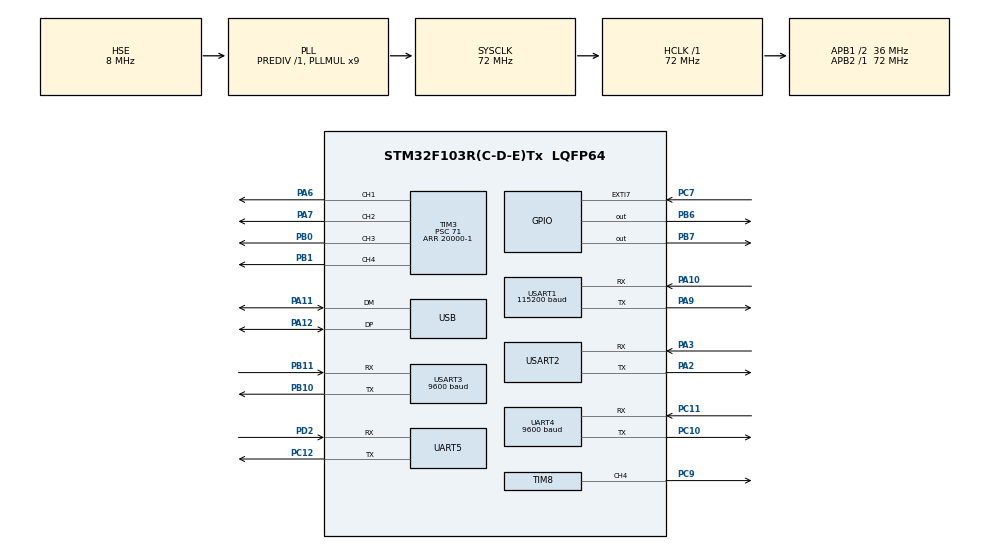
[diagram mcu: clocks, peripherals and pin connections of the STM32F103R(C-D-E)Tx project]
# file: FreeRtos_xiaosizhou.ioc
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Dma.Request0=TIM8_CH4/TRIG/COM
Dma.TIM8_CH4/TRIG/COM.0.Direction=DMA_MEMORY_TO_PERIPH
Dma.TIM8_CH4/TRIG/COM.0.Instance=DMA2_Channel2
Dma.TIM8_CH4/TRIG/COM.0.MemDataAlignment=DMA_MDATAALIGN_HALFWORD
Dma.TIM8_CH4/TRIG/COM.0.MemInc=DMA_MINC_ENABLE
Dma.TIM8_CH4/TRIG/COM.0.Mode=DMA_CIRCULAR
Dma.TIM8_CH4/TRIG/COM.0.PeriphDataAlignment=DMA_PDATAALIGN_HALFWORD
Dma.TIM8_CH4/TRIG/COM.0.PeriphInc=DMA_PINC_DISABLE
Dma.TIM8_CH4/TRIG/COM.0.Priority=DMA_PRIORITY_LOW
FREERTOS.Events01=ClassisEvent,Dynamic,NULL;SensorEvent,Dynamic,NULL;TriflesEvent,Dynamic,NULL
FREERTOS.INCLUDE_xEventGroupSetBitFromISR=1
FREERTOS.INCLUDE_xQueueGetMutexHolder=1
FREERTOS.INCLUDE_xSemaphoreGetMutexHolder=1
FREERTOS.Mutexes01=ChassisMutex,Dynamic,NULL;SensorMutex,Dynamic,NULL;TriflesMutex,Dynamic,NULL
FREERTOS.Tasks01=ClassisTask,24,128,StartDefaultTask,Default,NULL,Dynamic,NULL,NULL;SensorTask,16,128,Sensor_Tsak,Default,NULL,Dynamic,NULL,NULL;TriflesTask,8,128,Trifles_Task,Default,NULL,Dynamic,NULL,NULL
FREERTOS.Timers01=ThreadsTimer,ThreadsCallback,osTimerPeriodic,Default,NULL,Dynamic,NULL;User_TasksTimer,User_TasksCallback,osTimerPeriodic,Default,NULL,Dynamic,NULL;LedTimer,LedCallback,osTimerPeriodic,Default,NULL,Dynamic,NULL
FREERTOS.configUSE_APPLICATION_TASK_TAG=0
FREERTOS.configUSE_NEWLIB_REENTRANT=0
Mcu.Family=STM32F1
Mcu.Name=STM32F103R(C-D-E)Tx
Mcu.Package=LQFP64
NVIC.DMA2_Channel2_IRQn=true\:5\:0\:false\:false\:true\:true\:false\:true\:true
NVIC.EXTI9_5_IRQn=true\:6\:0\:true\:false\:true\:true\:true\:true\:true
NVIC.PriorityGroup=NVIC_PRIORITYGROUP_4
NVIC.TIM5_IRQn=true\:7\:0\:true\:false\:true\:true\:true\:true\:true
NVIC.TIM6_IRQn=true\:15\:0\:false\:false\:true\:false\:false\:true\:true
NVIC.TimeBase=TIM6_IRQn
NVIC.TimeBaseIP=TIM6
NVIC.UART4_IRQn=true\:6\:0\:true\:false\:true\:true\:true\:true\:true
NVIC.UART5_IRQn=true\:6\:0\:true\:false\:true\:true\:true\:true\:true
NVIC.USART1_IRQn=true\:5\:0\:true\:false\:true\:true\:true\:true\:true
NVIC.USART2_IRQn=true\:6\:0\:true\:false\:true\:true\:true\:true\:true
NVIC.USART3_IRQn=true\:6\:0\:true\:false\:true\:true\:true\:true\:true
NVIC.USB_LP_CAN1_RX0_IRQn=true\:5\:0\:false\:false\:true\:true\:false\:true\:true
PA10.Mode=Asynchronous
PA10.Signal=USART1_RX
PA11.Mode=Device
PA11.Signal=USB_DM
PA12.Mode=Device
PA12.Signal=USB_DP
PA13.Mode=Serial_Wire
PA13.Signal=SYS_JTMS-SWDIO
PA14.Mode=Serial_Wire
PA14.Signal=SYS_JTCK-SWCLK
PA2.Mode=Asynchronous
PA2.Signal=USART2_TX
PA3.Mode=Asynchronous
PA3.Signal=USART2_RX
PA6.Signal=S_TIM3_CH1
PA7.Signal=S_TIM3_CH2
PA9.Mode=Asynchronous
PA9.Signal=USART1_TX
PB0.Signal=S_TIM3_CH3
PB1.Signal=S_TIM3_CH4
PB10.Mode=Asynchronous
PB10.Signal=USART3_TX
PB11.Mode=Asynchronous
PB11.Signal=USART3_RX
PB6.Signal=GPIO_Output
PB7.Signal=GPIO_Output
PC10.Mode=Asynchronous
PC10.Signal=UART4_TX
PC11.Mode=Asynchronous
PC11.Signal=UART4_RX
PC12.Mode=Asynchronous
PC12.Signal=UART5_TX
PC7.GPIO_ModeDefaultEXTI=GPIO_MODE_IT_FALLING
PC7.Signal=GPXTI7
PC9.Signal=S_TIM8_CH4
PD0-OSC_IN.Mode=HSE-External-Oscillator
PD0-OSC_IN.Signal=RCC_OSC_IN
PD1-OSC_OUT.Mode=HSE-External-Oscillator
PD1-OSC_OUT.Signal=RCC_OSC_OUT
PD2.Mode=Asynchronous
PD2.Signal=UART5_RX
ProjectManager.HeapSize=0x1000
ProjectManager.StackSize=0x400
ProjectManager.TargetToolchain=MDK-ARM V5.32
RCC.AHBFreq_Value=72000000
RCC.APB1CLKDivider=RCC_HCLK_DIV2
RCC.APB1Freq_Value=36000000
RCC.APB1TimFreq_Value=72000000
RCC.APB2Freq_Value=72000000
RCC.APB2TimFreq_Value=72000000
RCC.HCLKFreq_Value=72000000
RCC.PLLMUL=RCC_PLL_MUL9
RCC.PLLSourceVirtual=RCC_PLLSOURCE_HSE
RCC.SYSCLKFreq_VALUE=72000000
RCC.SYSCLKSource=RCC_SYSCLKSOURCE_PLLCLK
RCC.USBFreq_Value=48000000
RCC.USBPrescaler=RCC_USBCLKSOURCE_PLL_DIV1_5
SH.S_TIM3_CH1.0=TIM3_CH1,PWM Generation1 CH1
SH.S_TIM3_CH2.0=TIM3_CH2,PWM Generation2 CH2
SH.S_TIM3_CH3.0=TIM3_CH3,PWM Generation3 CH3
SH.S_TIM3_CH4.0=TIM3_CH4,PWM Generation4 CH4
SH.S_TIM8_CH4.0=TIM8_CH4,PWM Generation4 CH4
TIM3.Channel-PWM\ Generation1\ CH1=TIM_CHANNEL_1
TIM3.Channel-PWM\ Generation2\ CH2=TIM_CHANNEL_2
TIM3.Channel-PWM\ Generation3\ CH3=TIM_CHANNEL_3
TIM3.Channel-PWM\ Generation4\ CH4=TIM_CHANNEL_4
TIM3.Period=20000-1
TIM3.Prescaler=71
TIM4.Prescaler=71
TIM5.Period=1000-1
TIM5.Prescaler=71
TIM7.Prescaler=71
TIM8.Channel-PWM\ Generation4\ CH4=TIM_CHANNEL_4
TIM8.Period=89
UART4.BaudRate=9600
UART4.VirtualMode=Asynchronous
UART5.VirtualMode=Asynchronous
USART1.BaudRate=115200
USART1.Parity=PARITY_NONE
USART1.StopBits=STOPBITS_1
USART1.VirtualMode=VM_ASYNC
USART1.WordLength=WORDLENGTH_8B
USART2.VirtualMode=VM_ASYNC
USART3.BaudRate=9600
USART3.VirtualMode=VM_ASYNC
USB_DEVICE.CLASS_NAME_FS=CDC
USB_DEVICE.VirtualMode=Cdc
USB_DEVICE.VirtualModeFS=Cdc_FS
VP_FREERTOS_VS_CMSIS_V2.Mode=CMSIS_V2
VP_SYS_VS_tim6.Mode=TIM6
VP_TIM3_VS_ClockSourceINT.Mode=Internal
VP_TIM4_VS_ClockSourceINT.Mode=Internal
VP_TIM5_VS_ClockSourceINT.Mode=Internal
VP_TIM7_VS_ClockSourceINT.Mode=Enable_Timer
VP_TIM8_VS_ClockSourceINT.Mode=Internal
VP_USB_DEVICE_VS_USB_DEVICE_CDC_FS.Mode=CDC_FS
board=custom

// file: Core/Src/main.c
/* USER CODE BEGIN Header */
/**
  ******************************************************************************
  * @file           : main.c
  * @brief          : Main program body
  ******************************************************************************
  * @attention
  *
  * Copyright (c) 2023 STMicroelectronics.
  * All rights reserved.
  *
  * This software is licensed under terms that can be found in the LICENSE file
  * in the root directory of this software component.
  * If no LICENSE file comes with this software, it is provided AS-IS.
  *
  ******************************************************************************
  */
/* USER CODE END Header */
#include "main.h"
#include "cmsis_os.h"
#include "dma.h"
#include "tim.h"
#include "usart.h"
#include "usb_device.h"
#include "gpio.h"

/* USER CODE BEGIN Includes */
#include "Drv_ws2812.h"
#include "iic.h"
#include "Drv_wit_c_sdk.h"
#include "systerm.h"
#include "stdio.h"
#include "Drv_ppm.h"
#include "structconfig.h"
#include "719_Interface.h"
#include "719_FC.h"
#include "Drv_Imu.h"

/* USER CODE END Includes */

/* USER CODE BEGIN PTD */
//#define ACC_UPDATE		0x01
//#define GYRO_UPDATE		0x02
//#define ANGLE_UPDATE	0x04
//#define MAG_UPDATE		0x08
//#define READ_UPDATE		0x80

//static volatile char s_cDataUpdate = 0, s_cCmd = 0xff;

//static void AutoScanSensor(void);
//static void CopeSensorData(uint32_t uiReg, uint32_t uiRegNum);
//static void Delayms(uint16_t ucMs);
/* USER CODE END PTD */

void SystemClock_Config(void);
void MX_FREERTOS_Init(void);

int main(void)
{

  /* MCU Configuration--------------------------------------------------------*/

  /* Reset of all peripherals, Initializes the Flash interface and the Systick. */
  HAL_Init();

  /* Configure the system clock */
  SystemClock_Config();

  /* Initialize all configured peripherals */
  MX_GPIO_Init();
  MX_DMA_Init();
  MX_USART1_UART_Init();
  MX_TIM8_Init();
  MX_UART4_Init();
  MX_UART5_Init();
  MX_USART2_UART_Init();
  MX_USART3_UART_Init();
  MX_TIM3_Init();
  MX_TIM7_Init();
  MX_TIM5_Init();
  MX_TIM4_Init();
	MotorPwm_Init();//电调校准
  /* USER CODE BEGIN 2 */
  /***********************************************************
  TIM1-------------           TIM2-------------
  TIM6-------------sys        TIM7-------------Cnt_TIM
  TIM3-------------motor_pwm  TIM4-------------Cnt_TIM
  TIM5-------------Base_TIM   TIM8-------------PWM_DMA_WS2812（全彩灯）
  ***********************************************************/
   systerm_init();
	 Get_ImuData_Init();

  /* USER CODE END 2 */

  /* Init scheduler */
  osKernelInitialize();  /* Call init function for freertos objects (in freertos.c) */
  MX_FREERTOS_Init();

  /* Start scheduler */
  osKernelStart();

  /* We should never get here as control is now taken by the scheduler */
  /* Infinite loop */
  while (1)
  {

    /* USER CODE BEGIN 3 */
//		printf("hello world\r\n");
//    Task_Schedule();
//		printf("angle:%.3f %.3f %.3f\n", fAngle[0], fAngle[1], fAngle[2]);
//			printf("%f\n",fAngle[2]);
//	  if(SBUS_FLAG)
//	  {
//		  SBUS_FLAG = 0;
//	      printf_CH();
//	  }

  }
  /* USER CODE END 3 */
}

void SystemClock_Config(void)
{
  RCC_OscInitTypeDef RCC_OscInitStruct = {0};
  RCC_ClkInitTypeDef RCC_ClkInitStruct = {0};
  RCC_PeriphCLKInitTypeDef PeriphClkInit = {0};

  /** Initializes the RCC Oscillators according to the specified parameters
  * in the RCC_OscInitTypeDef structure.
  */
  RCC_OscInitStruct.OscillatorType = RCC_OSCILLATORTYPE_HSE;
  RCC_OscInitStruct.HSEState = RCC_HSE_ON;
  RCC_OscInitStruct.HSEPredivValue = RCC_HSE_PREDIV_DIV1;
  RCC_OscInitStruct.HSIState = RCC_HSI_ON;
  RCC_OscInitStruct.PLL.PLLState = RCC_PLL_ON;
  RCC_OscInitStruct.PLL.PLLSource = RCC_PLLSOURCE_HSE;
  RCC_OscInitStruct.PLL.PLLMUL = RCC_PLL_MUL9;
  if (HAL_RCC_OscConfig(&RCC_OscInitStruct) != HAL_OK)
  {
    Error_Handler();
  }

  /** Initializes the CPU, AHB and APB buses clocks
  */
  RCC_ClkInitStruct.ClockType = RCC_CLOCKTYPE_HCLK|RCC_CLOCKTYPE_SYSCLK
                              |RCC_CLOCKTYPE_PCLK1|RCC_CLOCKTYPE_PCLK2;
  RCC_ClkInitStruct.SYSCLKSource = RCC_SYSCLKSOURCE_PLLCLK;
  RCC_ClkInitStruct.AHBCLKDivider = RCC_SYSCLK_DIV1;
  RCC_ClkInitStruct.APB1CLKDivider = RCC_HCLK_DIV2;
  RCC_ClkInitStruct.APB2CLKDivider = RCC_HCLK_DIV1;

  if (HAL_RCC_ClockConfig(&RCC_ClkInitStruct, FLASH_LATENCY_2) != HAL_OK)
  {
    Error_Handler();
  }
  PeriphClkInit.PeriphClockSelection = RCC_PERIPHCLK_USB;
  PeriphClkInit.UsbClockSelection = RCC_USBCLKSOURCE_PLL_DIV1_5;
  if (HAL_RCCEx_PeriphCLKConfig(&PeriphClkInit) != HAL_OK)
  {
    Error_Handler();
  }
}

/* USER CODE BEGIN 4 */
//extern int AttControl_2_flag_s;
//extern int AttControl_1_flag_s;
//extern int LocControl_1_flag_s;
//extern int XYZVelocity_Set_flag;
/* USER CODE END 4 */

void HAL_TIM_PeriodElapsedCallback(TIM_HandleTypeDef *htim)
{
  /* USER CODE BEGIN Callback 0 */
//  static uint16_t led_flag_s = 0;
//  static uint16_t tim_flag_s = 0;
//  static uint8_t FLAG1_s = 1;
//	static uint8_t AttControl_2_flag_s;		//速度环标志位，10节拍控制一次
//	static uint8_t AttControl_1_flag_s;		//角速度环标志位，5节拍控制一次
//	static uint8_t LocControl_1_flag_s;		//高度速度环标志位，20节拍控制一次
//	static FLOAT_ANGLE oular_angle_s;
//	static int flag_s[GroupOfFlag];
//	flag_s[unlock_f] = 0; 				//1<<unlock_f
//	flag_s[imu_init_f] = 0;				//1<<imu_init_f
//	flag_s[led_station_f] = 0;		//1<<led_station_f
//	flag_s[AttControl_1_f] = 0;		//1<<AttControl_1_f
//	flag_s[AttControl_2_f] = 0;		//1<<AttControl_2_f
//	flag_s[LocControl_1_f] = 0;		//1<<LocControl_1_f
	extern osEventFlagsId_t ClassisEventHandle;	//管理标志位公共资源：存储各个事件的标志位
//	uint32_t retval;
  /* USER CODE END Callback 0 */
  if (htim->Instance == TIM6) {
    HAL_IncTick();
  }
  /* USER CODE BEGIN Callback 1 */
  if (htim->Instance == TIM5) {
//		uint32_t retval;
//		retval = osEventFlagsSet(ClassisEventHandle, 1<<unlock_f);
//		printf("标志位设置是否成功%d\r\n", retval);
//		Classis_Interface_in("b", &oular_angle_s);
//		Flag_Interface_in(flag_s);	//括号里不能填NULL，写就是寄，系统直接崩溃
//	  tim_flag_s++;
//	  led_flag_s++;							//IMU_Init_Flag，control_flag，led_station_flag， lock
//		AttControl_2_flag_s++;		//速度环标志位，10节拍控制一次
//		AttControl_1_flag_s++;		//角速度环标志位，5节拍控制一次
//		LocControl_1_flag_s++;		//高度速度环标志位，20节拍控制一次
//		XYZVelocity_Set_flag++;	//飞控系统速度目标量综合设定标志位，1节拍重新设定一次(干掉)

//	  if(oular_angle_s.rol <= 1.0 && oular_angle_s.pit <= 1.0 && tim_flag_s >= 5000 && FLAG1_s == 1)
//	  {
//		  FLAG1_s = 0;
//			flag_s[imu_init_f] = 1;
//	  }

//	  if(AttControl_1_flag_s == 5)
//	  {
//			AttControl_1_flag_s = 0;
//			flag_s[AttControl_1_f] = 1;
//	  }
//
//	  if(AttControl_2_flag_s == 10)
//	  {
//			AttControl_2_flag_s = 0;
//			flag_s[AttControl_2_f] = 1;
//	  }
//
//		  if(LocControl_1_flag_s == 20)
//	  {
//			LocControl_1_flag_s = 0;
//			flag_s[LocControl_1_f] = 1;
//	  }
//
//	  if(led_flag_s == 2000)
//	  {
//		  led_flag_s = 0;
//		  if(FLAG1_s == 0)
//				flag_s[led_station_f] = 1;
	  }
//		printf("定时器函数%d, %d, %d\r\n", flag_s[AttControl_1_f],flag_s[AttControl_2_f],  flag_s[LocControl_1_f]);
//		if(flag_s[AttControl_1_f]) osEventFlagsSet(ClassisEventHandle, 1<<AttControl_1_f); else osEventFlagsClear(ClassisEventHandle, 1<<AttControl_1_f);
//		if(flag_s[AttControl_2_f]) osEventFlagsSet(ClassisEventHandle, 1<<AttControl_2_f); else osEventFlagsClear(ClassisEventHandle, 1<<AttControl_2_f);
//		if(flag_s[LocControl_1_f]) osEventFlagsSet(ClassisEventHandle, 1<<LocControl_1_f); else osEventFlagsClear(ClassisEventHandle, 1<<LocControl_1_f);
//		retval = osEventFlagsSet(ClassisEventHandle, 1<<AttControl_1_f);
//		printf("返回值是否成功：%d\r\n",retval);
//  }
  /* USER CODE END Callback 1 */
}

void Error_Handler(void)
{
  __disable_irq();
  while (1)
  {
  }
}

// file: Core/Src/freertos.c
/* USER CODE BEGIN Header */
/**
  ******************************************************************************
  * File Name          : freertos.c
  * Description        : Code for freertos applications
  ******************************************************************************
  * @attention
  *
  * Copyright (c) 2023 STMicroelectronics.
  * All rights reserved.
  *
  * This software is licensed under terms that can be found in the LICENSE file
  * in the root directory of this software component.
  * If no LICENSE file comes with this software, it is provided AS-IS.
  *
  ******************************************************************************
  */
/* USER CODE END Header */

#include "FreeRTOS.h"
#include "task.h"
#include "main.h"
#include "cmsis_os.h"

/* USER CODE BEGIN Includes */
#include "gpio.h"
#include "usart.h"
#include "719_FC.h"
#include "Drv_Imu.h"
#include "Drv_ws2812.h"
#include "Drv_ppm.h"
#include "719_User_Tasks.h"
#include "Drv_Echo.h"

/* USER CODE END Includes */

/* Definitions for ClassisTask */
osThreadId_t ClassisTaskHandle;
const osThreadAttr_t ClassisTask_attributes = {
  .name = "ClassisTask",
  .stack_size = 128 * 4,
  .priority = (osPriority_t) osPriorityNormal,
};
/* Definitions for SensorTask */
osThreadId_t SensorTaskHandle;
const osThreadAttr_t SensorTask_attributes = {
  .name = "SensorTask",
  .stack_size = 128 * 4,
  .priority = (osPriority_t) osPriorityBelowNormal,
};
/* Definitions for TriflesTask */
osThreadId_t TriflesTaskHandle;
const osThreadAttr_t TriflesTask_attributes = {
  .name = "TriflesTask",
  .stack_size = 128 * 4,
  .priority = (osPriority_t) osPriorityLow,
};
/* Definitions for ThreadsTimer */
osTimerId_t ThreadsTimerHandle;
const osTimerAttr_t ThreadsTimer_attributes = {
  .name = "ThreadsTimer"
};
/* Definitions for User_TasksTimer */
osTimerId_t User_TasksTimerHandle;
const osTimerAttr_t User_TasksTimer_attributes = {
  .name = "User_TasksTimer"
};
/* Definitions for LedTimer */
osTimerId_t LedTimerHandle;
const osTimerAttr_t LedTimer_attributes = {
  .name = "LedTimer"
};
/* Definitions for ChassisMutex */
osMutexId_t ChassisMutexHandle;
const osMutexAttr_t ChassisMutex_attributes = {
  .name = "ChassisMutex"
};
/* Definitions for SensorMutex */
osMutexId_t SensorMutexHandle;
const osMutexAttr_t SensorMutex_attributes = {
  .name = "SensorMutex"
};
/* Definitions for TriflesMutex */
osMutexId_t TriflesMutexHandle;
const osMutexAttr_t TriflesMutex_attributes = {
  .name = "TriflesMutex"
};
/* Definitions for ClassisEvent */
osEventFlagsId_t ClassisEventHandle;
const osEventFlagsAttr_t ClassisEvent_attributes = {
  .name = "ClassisEvent"
};
/* Definitions for SensorEvent */
osEventFlagsId_t SensorEventHandle;
const osEventFlagsAttr_t SensorEvent_attributes = {
  .name = "SensorEvent"
};
/* Definitions for TriflesEvent */
osEventFlagsId_t TriflesEventHandle;
const osEventFlagsAttr_t TriflesEvent_attributes = {
  .name = "TriflesEvent"
};

void StartDefaultTask(void *argument);
void Sensor_Tsak(void *argument);
void Trifles_Task(void *argument);
void ThreadsCallback(void *argument);
void User_TasksCallback(void *argument);
void LedCallback(void *argument);

extern void MX_USB_DEVICE_Init(void);
void MX_FREERTOS_Init(void); /* (MISRA C 2004 rule 8.1) */

void MX_FREERTOS_Init(void) {
  /* USER CODE BEGIN Init */
/******************************************************************************************
模块名：统一任务调度模块
作者：	719-张木悦，程子峻
*******************************************************************************************/
//====================================任务列表============================================//
/*底盘控制任务：							ClassisTaskHandle
 *传感器感知任务：						SensorMutexHandle
 *杂事处理任务：							TriflesMutexHandle
 */
//====================================任务列表============================================//
//
//====================================互斥量列表==========================================//
/*底盘数据容器保护互斥量：		ChassisMutexHandle
 *传感器数据容器保护互斥量：	SensorMutexHandle
 *杂事数据容器保护互斥量：		TriflesMutexHandle
 */
//====================================互斥量列表==========================================//
//
//====================================事件标志组列表======================================//
/*底盘事件标志组：						ClassisEventHandle
 *传感器事件标志组：					SensorEventHandle
 *杂事事件标志组：						TriflesEventHandle
 */
//====================================事件标志组列表======================================//
  /* USER CODE END Init */
  /* Create the mutex(es) */
  /* creation of ChassisMutex */
  ChassisMutexHandle = osMutexNew(&ChassisMutex_attributes);

  /* creation of SensorMutex */
  SensorMutexHandle = osMutexNew(&SensorMutex_attributes);

  /* creation of TriflesMutex */
  TriflesMutexHandle = osMutexNew(&TriflesMutex_attributes);

  /* Create the timer(s) */
  /* creation of ThreadsTimer */
  ThreadsTimerHandle = osTimerNew(ThreadsCallback, osTimerPeriodic, NULL, &ThreadsTimer_attributes);

  /* creation of User_TasksTimer */
  User_TasksTimerHandle = osTimerNew(User_TasksCallback, osTimerPeriodic, NULL, &User_TasksTimer_attributes);

  /* creation of LedTimer */
  LedTimerHandle = osTimerNew(LedCallback, osTimerPeriodic, NULL, &LedTimer_attributes);

  /* Create the thread(s) */
  /* creation of ClassisTask */
  ClassisTaskHandle = osThreadNew(StartDefaultTask, NULL, &ClassisTask_attributes);

  /* creation of SensorTask */
  SensorTaskHandle = osThreadNew(Sensor_Tsak, NULL, &SensorTask_attributes);

  /* creation of TriflesTask */
  TriflesTaskHandle = osThreadNew(Trifles_Task, NULL, &TriflesTask_attributes);

  /* creation of ClassisEvent */
  ClassisEventHandle = osEventFlagsNew(&ClassisEvent_attributes);

  /* creation of SensorEvent */
  SensorEventHandle = osEventFlagsNew(&SensorEvent_attributes);

  /* creation of TriflesEvent */
  TriflesEventHandle = osEventFlagsNew(&TriflesEvent_attributes);

}

void StartDefaultTask(void *argument)
{
  /* init code for USB_DEVICE */
  MX_USB_DEVICE_Init();
  /* USER CODE BEGIN StartDefaultTask */
  /* Infinite loop */
	osTimerStart(ThreadsTimerHandle, 1);
	osTimerStart(User_TasksTimerHandle, 20);
	osTimerStart(LedTimerHandle, 2000);
  for(;;)
  {
		Control_Server();
    osDelay(20);
  }
  /* USER CODE END StartDefaultTask */
}

void Sensor_Tsak(void *argument)
{
  /* USER CODE BEGIN Sensor_Tsak */
  /* Infinite loop */
  for(;;)
  {
		Get_ImuData_Server();
		get_rc_data();
    osDelay(10);
  }
  /* USER CODE END Sensor_Tsak */
}

void Trifles_Task(void *argument)
{
  /* USER CODE BEGIN Trifles_Task */
  /* Infinite loop */
  for(;;)
  {
    osDelay(10);
  }
  /* USER CODE END Trifles_Task */
}

/* ThreadsCallback function */
void ThreadsCallback(void *argument)
{
  /* USER CODE BEGIN ThreadsCallback */
	//用途：用于做类似于ANO那样的假多线程

  /* USER CODE END ThreadsCallback */
}

/* User_TasksCallback function */
void User_TasksCallback(void *argument)
{
  /* USER CODE BEGIN User_TasksCallback */
//	Vertical_Move(40, 1500);
	User_Tasks();
	Echo_init();
  /* USER CODE END User_TasksCallback */
}

/* LedCallback function */
void LedCallback(void *argument)
{
  /* USER CODE BEGIN LedCallback */
	ws2812_Server();
  /* USER CODE END LedCallback */
}
